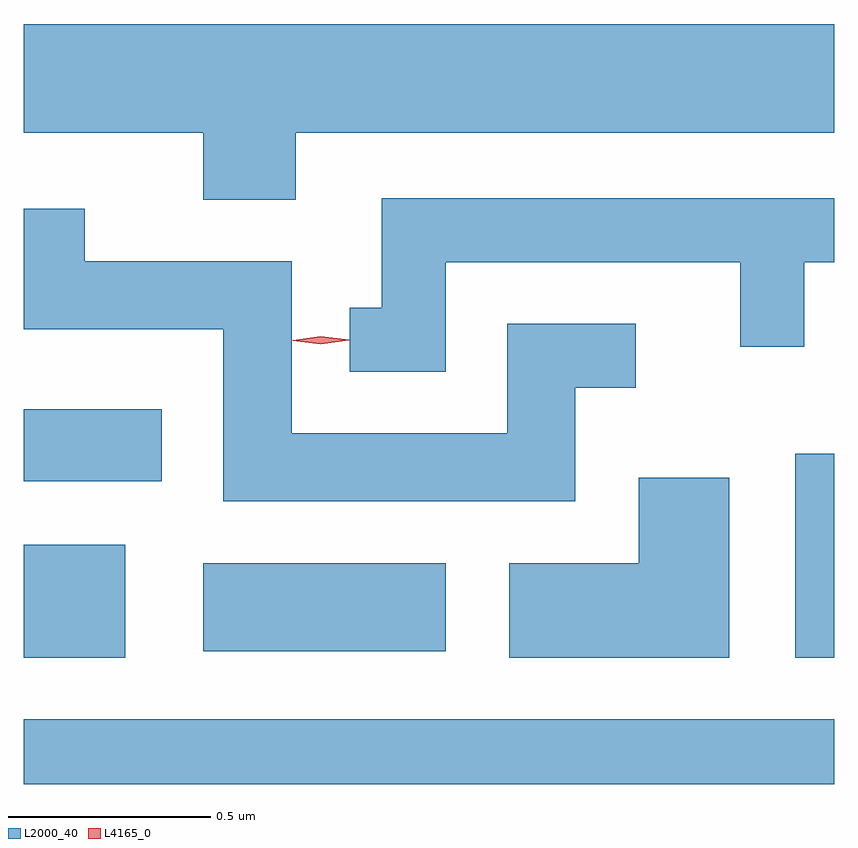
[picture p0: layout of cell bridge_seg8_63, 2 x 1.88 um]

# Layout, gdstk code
import gdstk
lib = gdstk.Library(unit=1e-6, precision=1e-09)
def R(c, l, rs):  # rectangles x0, y0, x1, y1
    for r in rs: c.add(gdstk.rectangle(r[:2], r[2:], *l))
def P(c, l, *ps):  # polygons
    for p in ps: c.add(gdstk.Polygon(p, *l))
L2000_40 = (2000, 40)
L4165_0 = (4165, 0)

bridge_seg8_63 = lib.new_cell('bridge_seg8_63')
R(bridge_seg8_63, L2000_40, [(1475.398,1912.509,1477.398,1912.669), (1475.398,1912.821,1475.649,1913.099), (1477.301,1912.821,1477.398,1913.324), (1475.841,1912.836,1476.439,1913.054), (1475.398,1913.256,1475.739,1913.434)])
P(bridge_seg8_63, L2000_40, [(1476.069,1914.116),(1477.398,1914.116),(1477.398,1914.384),(1475.398,1914.384),(1475.398,1914.116),(1475.841,1914.116),(1475.841,1913.951),(1476.069,1913.951)],
  [(1476.439,1913.796),(1477.166,1913.796),(1477.166,1913.588),(1477.324,1913.588),(1477.324,1913.796),(1477.398,1913.796),(1477.398,1913.954),(1476.281,1913.954),(1476.281,1913.684),(1476.203,1913.684),(1476.203,1913.526),(1476.439,1913.526)],
  [(1476.759,1913.486),(1476.908,1913.486),(1476.908,1913.644),(1476.591,1913.644),(1476.591,1913.374),(1476.059,1913.374),(1476.059,1913.799),(1475.549,1913.799),(1475.549,1913.928),(1475.398,1913.928),(1475.398,1913.631),(1475.891,1913.631),(1475.891,1913.206),(1476.759,1913.206)],
  [(1477.139,1913.264),(1476.916,1913.264),(1476.916,1913.054),(1476.596,1913.054),(1476.596,1912.821),(1477.139,1912.821)])
P(bridge_seg8_63, L4165_0, [(1476.131,1913.594),(1476.062,1913.603),(1476.062,1913.604),(1476.062,1913.604),(1476.131,1913.614),(1476.201,1913.605),(1476.201,1913.604),(1476.201,1913.604)])

lib.write_gds('bridge_seg8_63.gds')
